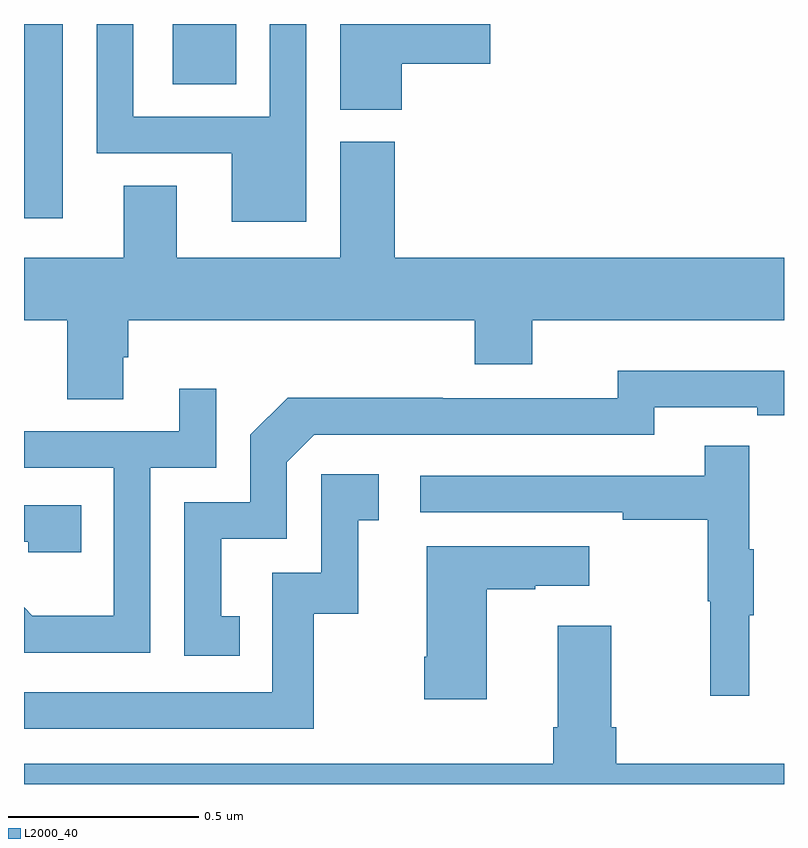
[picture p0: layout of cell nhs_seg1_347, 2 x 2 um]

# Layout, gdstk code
import gdstk
lib = gdstk.Library(unit=1e-6, precision=1e-09)
def R(c, l, rs):  # rectangles x0, y0, x1, y1
    for r in rs: c.add(gdstk.rectangle(r[:2], r[2:], *l))
def P(c, l, *ps):  # polygons
    for p in ps: c.add(gdstk.Polygon(p, *l))
L2000_40 = (2000, 40)

nhs_seg1_347 = lib.new_cell('nhs_seg1_347')
R(nhs_seg1_347, L2000_40, [(115,530.688,115.102,531.199), (115.391,531.04,115.558,531.199)])
P(nhs_seg1_347, L2000_40, [(115.743,531.199),(115.647,531.199),(115.647,530.955),(115.287,530.955),(115.287,531.199),(115.191,531.199),(115.191,530.859),(115.547,530.859),(115.547,530.678),(115.743,530.678)],
  [(115.994,531.095),(116.227,531.095),(116.227,531.199),(115.832,531.199),(115.832,530.974),(115.994,530.974)],
  [(115.261,530.322),(115.274,530.322),(115.274,530.42),(116.186,530.42),(116.186,530.303),(116.338,530.303),(116.338,530.42),(117,530.42),(117,530.584),(115.976,530.584),(115.976,530.889),(115.832,530.889),(115.832,530.584),(115.402,530.584),(115.402,530.774),(115.262,530.774),(115.262,530.584),(115,530.584),(115,530.42),(115.114,530.42),(115.114,530.212),(115.261,530.212)],
  [(115.568,529.641),(115.519,529.641),(115.519,529.845),(115.692,529.845),(115.692,530.046),(115.764,530.118),(116.658,530.118),(116.658,530.19),(116.93,530.19),(116.93,530.17),(117,530.17),(117,530.286),(116.93,530.286),(116.93,530.287),(116.562,530.287),(116.562,530.214),(116.102,530.214),(116.102,530.216),(115.694,530.216),(115.596,530.118),(115.596,529.941),(115.422,529.941),(115.422,529.536),(115.568,529.536)],
  [(115.332,530.031),(115.506,530.031),(115.506,530.239),(115.409,530.239),(115.409,530.127),(115,530.127),(115,530.031),(115.236,530.031),(115.236,529.642),(115.022,529.642),(115,529.664),(115,529.545),(115.332,529.545)],
  [(116.909,529.643),(116.92,529.643),(116.92,529.817),(116.909,529.817),(116.909,530.089),(116.791,530.089),(116.791,530.01),(116.043,530.01),(116.043,529.914),(116.575,529.914),(116.575,529.894),(116.799,529.894),(116.799,529.68),(116.806,529.68),(116.806,529.431),(116.909,529.431)],
  [(115.762,529.647),(115.88,529.647),(115.88,529.893),(115.933,529.893),(115.933,530.014),(115.782,530.014),(115.782,529.755),(115.653,529.755),(115.653,529.44),(115,529.44),(115,529.344),(115.762,529.344)],
  [(115.151,529.932),(115,529.932),(115,529.836),(115.011,529.836),(115.011,529.809),(115.151,529.809)],
  [(116.218,529.711),(116.345,529.711),(116.345,529.721),(116.488,529.721),(116.488,529.825),(116.06,529.825),(116.06,529.534),(116.053,529.534),(116.053,529.422),(116.218,529.422)],
  [(117,529.252),(116.558,529.252),(116.558,529.348),(116.545,529.348),(116.545,529.615),(116.405,529.615),(116.405,529.348),(116.393,529.348),(116.393,529.252),(115,529.252),(115,529.199),(117,529.199)])

lib.write_gds('nhs_seg1_347.gds')
